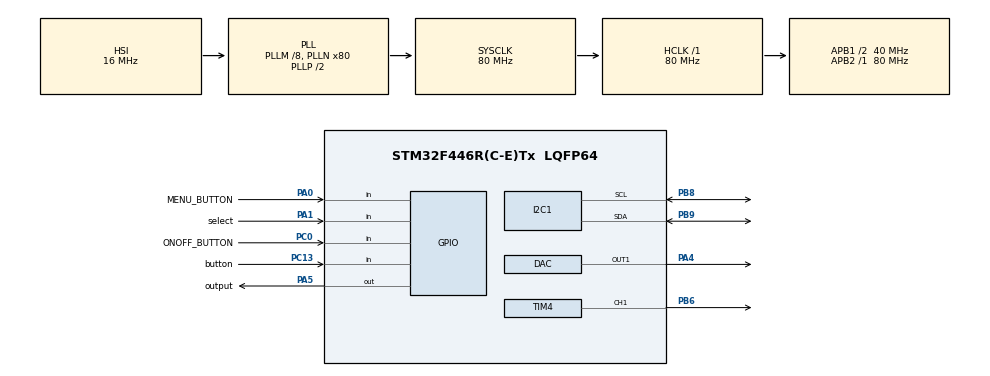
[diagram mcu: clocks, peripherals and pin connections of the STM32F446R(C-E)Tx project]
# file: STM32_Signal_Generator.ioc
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DAC.DAC_Trigger=DAC_TRIGGER_T2_TRGO
Dma.DAC1.0.Direction=DMA_MEMORY_TO_PERIPH
Dma.DAC1.0.FIFOMode=DMA_FIFOMODE_DISABLE
Dma.DAC1.0.Instance=DMA1_Stream5
Dma.DAC1.0.MemDataAlignment=DMA_MDATAALIGN_WORD
Dma.DAC1.0.MemInc=DMA_MINC_ENABLE
Dma.DAC1.0.Mode=DMA_CIRCULAR
Dma.DAC1.0.PeriphDataAlignment=DMA_PDATAALIGN_WORD
Dma.DAC1.0.PeriphInc=DMA_PINC_DISABLE
Dma.DAC1.0.Priority=DMA_PRIORITY_LOW
Dma.Request0=DAC1
IWDG.Prescaler=IWDG_PRESCALER_256
IWDG.Reload=1249
Mcu.Family=STM32F4
Mcu.Name=STM32F446R(C-E)Tx
Mcu.Package=LQFP64
NVIC.DMA1_Stream5_IRQn=true\:0\:0\:false\:false\:true\:false\:true\:true
NVIC.PriorityGroup=NVIC_PRIORITYGROUP_0
PA0-WKUP.GPIO_Label=MENU_BUTTON
PA0-WKUP.GPIO_PuPd=GPIO_PULLUP
PA0-WKUP.Signal=GPIO_Input
PA1.GPIO_Label=select
PA1.GPIO_PuPd=GPIO_PULLUP
PA1.Signal=GPIO_Input
PA13.Mode=Serial_Wire
PA13.Signal=SYS_JTMS-SWDIO
PA14.Mode=Serial_Wire
PA14.Signal=SYS_JTCK-SWCLK
PA4.Signal=COMP_DAC1_group
PA5.GPIO_Label=output
PA5.GPIO_Speed=GPIO_SPEED_FREQ_MEDIUM
PA5.Signal=GPIO_Output
PB6.Signal=S_TIM4_CH1
PB8.Mode=I2C
PB8.Signal=I2C1_SCL
PB9.Mode=I2C
PB9.Signal=I2C1_SDA
PC0.GPIO_Label=ONOFF_BUTTON
PC0.GPIO_PuPd=GPIO_PULLUP
PC0.Signal=GPIO_Input
PC13.GPIO_Label=button
PC13.Signal=GPIO_Input
PH0-OSC_IN.Mode=HSE-External-Oscillator
PH0-OSC_IN.Signal=RCC_OSC_IN
PH1-OSC_OUT.Mode=HSE-External-Oscillator
PH1-OSC_OUT.Signal=RCC_OSC_OUT
ProjectManager.HeapSize=0x200
ProjectManager.StackSize=0x400
ProjectManager.TargetToolchain=STM32CubeIDE
RCC.48MHZClocksFreq_Value=84000000
RCC.AHBFreq_Value=80000000
RCC.APB1CLKDivider=RCC_HCLK_DIV2
RCC.APB1Freq_Value=40000000
RCC.APB1TimFreq_Value=80000000
RCC.APB2Freq_Value=80000000
RCC.APB2TimFreq_Value=80000000
RCC.CortexFreq_Value=80000000
RCC.FLatency-AdvancedSettings=FLASH_LATENCY_2
RCC.HCLKFreq_Value=80000000
RCC.HSE_VALUE=8000000
RCC.HSI_VALUE=16000000
RCC.PLLM=8
RCC.PLLN=80
RCC.SYSCLKFreq_VALUE=80000000
RCC.SYSCLKSource=RCC_SYSCLKSOURCE_PLLCLK
RCC.USBFreq_Value=80000000
RCC.VCOOutputFreq_Value=160000000
SH.COMP_DAC1_group.0=DAC_OUT1,DAC_OUT1
SH.S_TIM4_CH1.0=TIM4_CH1,PWM Generation1 CH1
TIM2.Period=999
TIM2.Prescaler=79
TIM2.TIM_MasterOutputTrigger=TIM_TRGO_UPDATE
TIM4.Channel-PWM\ Generation1\ CH1=TIM_CHANNEL_1
TIM4.Period=1000-1
TIM4.Prescaler=80-1
VP_IWDG_VS_IWDG.Mode=IWDG_Activate
VP_TIM2_VS_ClockSourceINT.Mode=Internal
VP_TIM4_VS_ClockSourceINT.Mode=Internal
board=NUCLEO-F446RE

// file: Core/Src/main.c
/* USER CODE BEGIN Header */
/**
 ******************************************************************************
 * @file           : main.c
 * @brief          : Main program body
 ******************************************************************************
 * @attention
 *
 * Copyright (c) 2026 STMicroelectronics.
 * All rights reserved.
 *
 * This software is licensed under terms that can be found in the LICENSE file
 * in the root directory of this software component.
 * If no LICENSE file comes with this software, it is provided AS-IS.
 *
 ******************************************************************************
 */
/* USER CODE END Header */
#include "main.h"

/* USER CODE BEGIN Includes */
#include "pwm.h"
#include "ssd1306.h"
#include "menu.h"
#include "dac_waveform.h"
/* USER CODE END Includes */

DAC_HandleTypeDef hdac;
DMA_HandleTypeDef hdma_dac1;

I2C_HandleTypeDef hi2c1;

IWDG_HandleTypeDef hiwdg;

TIM_HandleTypeDef htim2;
TIM_HandleTypeDef htim4;

/* USER CODE BEGIN PV */
extern float frequency;
extern float dutyCycle;
/* USER CODE END PV */

void SystemClock_Config(void);
static void MX_GPIO_Init(void);
static void MX_DMA_Init(void);
static void MX_TIM4_Init(void);
static void MX_I2C1_Init(void);
static void MX_IWDG_Init(void);
static void MX_DAC_Init(void);
static void MX_TIM2_Init(void);

/* USER CODE BEGIN 0 */

/**
 * @brief Draws a straight line on the SSD1306 display.
 *
 * This function uses Bresenham's line algorithm to draw a line between
 * two points. Each point on the line is drawn using ssd1306_DrawPixel().
 *
 * @param x0 Starting point X coordinate.
 * @param y0 Starting point Y coordinate.
 * @param x1 Ending point X coordinate.
 * @param y1 Ending point Y coordinate.
 */
static void Splash_DrawLine(int x0, int y0, int x1, int y1) {
	int dx = (x1 > x0) ? (x1 - x0) : (x0 - x1);
	int sx = (x0 < x1) ? 1 : -1;
	int dy = -((y1 > y0) ? (y1 - y0) : (y0 - y1));
	int sy = (y0 < y1) ? 1 : -1;
	int err = dx + dy;
	int e2;

	while (1) {
		ssd1306_DrawPixel(x0, y0, White);

		if ((x0 == x1) && (y0 == y1)) {
			break;
		}

		e2 = 2 * err;

		if (e2 >= dy) {
			err += dy;
			x0 += sx;
		}

		if (e2 <= dx) {
			err += dx;
			y0 += sy;
		}
	}
}

/**
 * @brief Draws a rectangle outline on the SSD1306 display.
 *
 * This function draws four lines to create a rectangular frame.
 * The rectangle is not filled.
 *
 * @param x Top-left X coordinate of the rectangle.
 * @param y Top-left Y coordinate of the rectangle.
 * @param w Rectangle width in pixels.
 * @param h Rectangle height in pixels.
 */
static void Splash_DrawRect(uint8_t x, uint8_t y, uint8_t w, uint8_t h) {
	Splash_DrawLine(x, y, x + w, y);
	Splash_DrawLine(x, y + h, x + w, y + h);
	Splash_DrawLine(x, y, x, y + h);
	Splash_DrawLine(x + w, y, x + w, y + h);
}

/**
 * @brief Draws a filled circle on the SSD1306 display.
 *
 * This function checks each pixel inside the square area around the circle
 * and draws the pixels that satisfy the circle equation.
 *
 * @param cx Center X coordinate of the circle.
 * @param cy Center Y coordinate of the circle.
 * @param r Circle radius in pixels.
 */
static void Splash_DrawFilledCircle(uint8_t cx, uint8_t cy, uint8_t r) {
	for (int y = -r; y <= r; y++) {
		for (int x = -r; x <= r; x++) {
			if ((x * x) + (y * y) <= (r * r)) {
				ssd1306_DrawPixel(cx + x, cy + y, White);
			}
		}
	}
}

/**
 * @brief Draws the signal generator logo on the SSD1306 display.
 *
 * The logo consists of a simple device frame, a display area, screen grid,
 * waveform drawing, control buttons, and output connector lines.
 *
 * @note This function only draws pixels into the SSD1306 display buffer.
 *       ssd1306_UpdateScreen() must be called separately to show the result.
 */
static void Splash_DrawSignalGeneratorLogo(void) {
	/*
	 * Outer device frame
	 */
	Splash_DrawRect(18, 2, 92, 28);

	/*
	 * Display area
	 */
	Splash_DrawRect(23, 7, 55, 18);

	/*
	 * Screen grid
	 */
	Splash_DrawLine(23, 16, 78, 16);
	Splash_DrawLine(41, 7, 41, 25);
	Splash_DrawLine(59, 7, 59, 25);

	/*
	 * Waveform
	 */
	Splash_DrawLine(26, 16, 31, 10);
	Splash_DrawLine(31, 10, 36, 16);
	Splash_DrawLine(36, 16, 41, 22);
	Splash_DrawLine(41, 22, 46, 16);
	Splash_DrawLine(46, 16, 51, 10);
	Splash_DrawLine(51, 10, 56, 16);
	Splash_DrawLine(56, 16, 61, 22);
	Splash_DrawLine(61, 22, 66, 16);
	Splash_DrawLine(66, 16, 74, 16);

	/*
	 * Right-side control panel
	 */
	Splash_DrawFilledCircle(90, 11, 3);
	Splash_DrawFilledCircle(101, 11, 3);
	Splash_DrawFilledCircle(90, 22, 3);
	Splash_DrawFilledCircle(101, 22, 3);

	/*
	 * Small output connector
	 */
	Splash_DrawLine(82, 16, 87, 16);
	Splash_DrawLine(104, 16, 109, 16);
}

/**
 * @brief Initializes the signal generator output modules.
 *
 * This function stops PWM output, initializes the DAC waveform module,
 * and ensures that DAC waveform output is stopped at startup.
 *
 * The output signal is not started automatically. The user starts or stops
 * the selected waveform from the menu using the ON/OFF button.
 *
 * @note TIM4 Channel 1 is used for PWM square wave output.
 * @note DAC OUT1 is used for sine and triangle waveform output.
 */
void programInitialization(void) {
	pwmChannelStop(&htim4, TIM_CHANNEL_1);

	DAC_Waveform_Init();
	DAC_Waveform_Stop();
}

/**
 * @brief Displays the startup splash screen.
 *
 * This function initializes the SSD1306 OLED display, clears the screen,
 * draws the signal generator logo, writes the project title, keeps the
 * splash screen visible for a short time, and then clears the display.
 *
 * @note This function uses HAL_Delay(). If the watchdog timeout is shorter
 *       than the delay duration, the watchdog should be refreshed during
 *       the splash screen delay.
 */
void programStartMessage(void) {
	ssd1306_Init();
	ssd1306_Fill(Black);

	Splash_DrawSignalGeneratorLogo();

	ssd1306_SetCursor(22, 35);
	ssd1306_WriteString("SIGNAL", Font_11x18, White);

	ssd1306_SetCursor(26, 54);
	ssd1306_WriteString("GENERATOR", Font_7x10, White);

	ssd1306_UpdateScreen();

	HAL_Delay(5000);

	ssd1306_Fill(Black);
	ssd1306_UpdateScreen();
}

/* USER CODE END 0 */

int main(void) {

	/* MCU Configuration--------------------------------------------------------*/

	/* Reset of all peripherals, Initializes the Flash interface and the Systick. */
	HAL_Init();

	/* Configure the system clock */
	SystemClock_Config();

	/* Initialize all configured peripherals */
	MX_GPIO_Init();
	MX_DMA_Init();
	MX_TIM4_Init();
	MX_I2C1_Init();
	MX_IWDG_Init();
	MX_DAC_Init();
	MX_TIM2_Init();
	/* USER CODE BEGIN 2 */
	programInitialization();
	programStartMessage();

	/* USER CODE END 2 */

	/* Infinite loop */
	while (1) {

		/* USER CODE BEGIN 3 */
		handleMenuNavigation();
		HAL_IWDG_Refresh(&hiwdg);
	}
	/* USER CODE END 3 */
}

void SystemClock_Config(void) {
	RCC_OscInitTypeDef RCC_OscInitStruct = { 0 };
	RCC_ClkInitTypeDef RCC_ClkInitStruct = { 0 };

	/** Configure the main internal regulator output voltage
	 */
	__HAL_RCC_PWR_CLK_ENABLE();
	__HAL_PWR_VOLTAGESCALING_CONFIG(PWR_REGULATOR_VOLTAGE_SCALE3);

	/** Initializes the RCC Oscillators according to the specified parameters
	 * in the RCC_OscInitTypeDef structure.
	 */
	RCC_OscInitStruct.OscillatorType = RCC_OSCILLATORTYPE_HSI
			| RCC_OSCILLATORTYPE_LSI;
	RCC_OscInitStruct.HSIState = RCC_HSI_ON;
	RCC_OscInitStruct.HSICalibrationValue = RCC_HSICALIBRATION_DEFAULT;
	RCC_OscInitStruct.LSIState = RCC_LSI_ON;
	RCC_OscInitStruct.PLL.PLLState = RCC_PLL_ON;
	RCC_OscInitStruct.PLL.PLLSource = RCC_PLLSOURCE_HSI;
	RCC_OscInitStruct.PLL.PLLM = 8;
	RCC_OscInitStruct.PLL.PLLN = 80;
	RCC_OscInitStruct.PLL.PLLP = RCC_PLLP_DIV2;
	RCC_OscInitStruct.PLL.PLLQ = 2;
	RCC_OscInitStruct.PLL.PLLR = 2;
	if (HAL_RCC_OscConfig(&RCC_OscInitStruct) != HAL_OK) {
		Error_Handler();
	}

	/** Initializes the CPU, AHB and APB buses clocks
	 */
	RCC_ClkInitStruct.ClockType = RCC_CLOCKTYPE_HCLK | RCC_CLOCKTYPE_SYSCLK
			| RCC_CLOCKTYPE_PCLK1 | RCC_CLOCKTYPE_PCLK2;
	RCC_ClkInitStruct.SYSCLKSource = RCC_SYSCLKSOURCE_PLLCLK;
	RCC_ClkInitStruct.AHBCLKDivider = RCC_SYSCLK_DIV1;
	RCC_ClkInitStruct.APB1CLKDivider = RCC_HCLK_DIV2;
	RCC_ClkInitStruct.APB2CLKDivider = RCC_HCLK_DIV1;

	if (HAL_RCC_ClockConfig(&RCC_ClkInitStruct, FLASH_LATENCY_2) != HAL_OK) {
		Error_Handler();
	}
}

static void MX_DAC_Init(void) {

	DAC_ChannelConfTypeDef sConfig = { 0 };

	/** DAC Initialization
	 */
	hdac.Instance = DAC;
	if (HAL_DAC_Init(&hdac) != HAL_OK) {
		Error_Handler();
	}

	/** DAC channel OUT1 config
	 */
	sConfig.DAC_Trigger = DAC_TRIGGER_T2_TRGO;
	sConfig.DAC_OutputBuffer = DAC_OUTPUTBUFFER_ENABLE;
	if (HAL_DAC_ConfigChannel(&hdac, &sConfig, DAC_CHANNEL_1) != HAL_OK) {
		Error_Handler();
	}

}

static void MX_I2C1_Init(void) {

	hi2c1.Instance = I2C1;
	hi2c1.Init.ClockSpeed = 100000;
	hi2c1.Init.DutyCycle = I2C_DUTYCYCLE_2;
	hi2c1.Init.OwnAddress1 = 0;
	hi2c1.Init.AddressingMode = I2C_ADDRESSINGMODE_7BIT;
	hi2c1.Init.DualAddressMode = I2C_DUALADDRESS_DISABLE;
	hi2c1.Init.OwnAddress2 = 0;
	hi2c1.Init.GeneralCallMode = I2C_GENERALCALL_DISABLE;
	hi2c1.Init.NoStretchMode = I2C_NOSTRETCH_DISABLE;
	if (HAL_I2C_Init(&hi2c1) != HAL_OK) {
		Error_Handler();
	}

}

static void MX_IWDG_Init(void) {

	hiwdg.Instance = IWDG;
	hiwdg.Init.Prescaler = IWDG_PRESCALER_256;
	hiwdg.Init.Reload = 1249;
	if (HAL_IWDG_Init(&hiwdg) != HAL_OK) {
		Error_Handler();
	}

}

static void MX_TIM2_Init(void) {

	TIM_ClockConfigTypeDef sClockSourceConfig = { 0 };
	TIM_MasterConfigTypeDef sMasterConfig = { 0 };

	htim2.Instance = TIM2;
	htim2.Init.Prescaler = 79;
	htim2.Init.CounterMode = TIM_COUNTERMODE_UP;
	htim2.Init.Period = 999;
	htim2.Init.ClockDivision = TIM_CLOCKDIVISION_DIV1;
	htim2.Init.AutoReloadPreload = TIM_AUTORELOAD_PRELOAD_DISABLE;
	if (HAL_TIM_Base_Init(&htim2) != HAL_OK) {
		Error_Handler();
	}
	sClockSourceConfig.ClockSource = TIM_CLOCKSOURCE_INTERNAL;
	if (HAL_TIM_ConfigClockSource(&htim2, &sClockSourceConfig) != HAL_OK) {
		Error_Handler();
	}
	sMasterConfig.MasterOutputTrigger = TIM_TRGO_UPDATE;
	sMasterConfig.MasterSlaveMode = TIM_MASTERSLAVEMODE_DISABLE;
	if (HAL_TIMEx_MasterConfigSynchronization(&htim2, &sMasterConfig)
			!= HAL_OK) {
		Error_Handler();
	}

}

static void MX_TIM4_Init(void) {

	TIM_ClockConfigTypeDef sClockSourceConfig = { 0 };
	TIM_MasterConfigTypeDef sMasterConfig = { 0 };
	TIM_OC_InitTypeDef sConfigOC = { 0 };

	htim4.Instance = TIM4;
	htim4.Init.Prescaler = 80 - 1;
	htim4.Init.CounterMode = TIM_COUNTERMODE_UP;
	htim4.Init.Period = 1000 - 1;
	htim4.Init.ClockDivision = TIM_CLOCKDIVISION_DIV1;
	htim4.Init.AutoReloadPreload = TIM_AUTORELOAD_PRELOAD_DISABLE;
	if (HAL_TIM_Base_Init(&htim4) != HAL_OK) {
		Error_Handler();
	}
	sClockSourceConfig.ClockSource = TIM_CLOCKSOURCE_INTERNAL;
	if (HAL_TIM_ConfigClockSource(&htim4, &sClockSourceConfig) != HAL_OK) {
		Error_Handler();
	}
	if (HAL_TIM_PWM_Init(&htim4) != HAL_OK) {
		Error_Handler();
	}
	sMasterConfig.MasterOutputTrigger = TIM_TRGO_RESET;
	sMasterConfig.MasterSlaveMode = TIM_MASTERSLAVEMODE_DISABLE;
	if (HAL_TIMEx_MasterConfigSynchronization(&htim4, &sMasterConfig)
			!= HAL_OK) {
		Error_Handler();
	}
	sConfigOC.OCMode = TIM_OCMODE_PWM1;
	sConfigOC.Pulse = 0;
	sConfigOC.OCPolarity = TIM_OCPOLARITY_HIGH;
	sConfigOC.OCFastMode = TIM_OCFAST_DISABLE;
	if (HAL_TIM_PWM_ConfigChannel(&htim4, &sConfigOC, TIM_CHANNEL_1)
			!= HAL_OK) {
		Error_Handler();
	}
	HAL_TIM_MspPostInit(&htim4);

}

static void MX_DMA_Init(void) {

	/* DMA controller clock enable */
	__HAL_RCC_DMA1_CLK_ENABLE();

	/* DMA interrupt init */
	/* DMA1_Stream5_IRQn interrupt configuration */
	HAL_NVIC_SetPriority(DMA1_Stream5_IRQn, 0, 0);
	HAL_NVIC_EnableIRQ(DMA1_Stream5_IRQn);

}

static void MX_GPIO_Init(void) {
	GPIO_InitTypeDef GPIO_InitStruct = { 0 };

	/* GPIO Ports Clock Enable */
	__HAL_RCC_GPIOC_CLK_ENABLE();
	__HAL_RCC_GPIOH_CLK_ENABLE();
	__HAL_RCC_GPIOA_CLK_ENABLE();
	__HAL_RCC_GPIOB_CLK_ENABLE();

	/*Configure GPIO pin Output Level */
	HAL_GPIO_WritePin(output_GPIO_Port, output_Pin, GPIO_PIN_RESET);

	/*Configure GPIO pin : button_Pin */
	GPIO_InitStruct.Pin = button_Pin;
	GPIO_InitStruct.Mode = GPIO_MODE_INPUT;
	GPIO_InitStruct.Pull = GPIO_NOPULL;
	HAL_GPIO_Init(button_GPIO_Port, &GPIO_InitStruct);

	/*Configure GPIO pin : ONOFF_BUTTON_Pin */
	GPIO_InitStruct.Pin = ONOFF_BUTTON_Pin;
	GPIO_InitStruct.Mode = GPIO_MODE_INPUT;
	GPIO_InitStruct.Pull = GPIO_PULLUP;
	HAL_GPIO_Init(ONOFF_BUTTON_GPIO_Port, &GPIO_InitStruct);

	/*Configure GPIO pins : MENU_BUTTON_Pin select_Pin */
	GPIO_InitStruct.Pin = MENU_BUTTON_Pin | select_Pin;
	GPIO_InitStruct.Mode = GPIO_MODE_INPUT;
	GPIO_InitStruct.Pull = GPIO_PULLUP;
	HAL_GPIO_Init(GPIOA, &GPIO_InitStruct);

	/*Configure GPIO pin : output_Pin */
	GPIO_InitStruct.Pin = output_Pin;
	GPIO_InitStruct.Mode = GPIO_MODE_OUTPUT_PP;
	GPIO_InitStruct.Pull = GPIO_NOPULL;
	GPIO_InitStruct.Speed = GPIO_SPEED_FREQ_MEDIUM;
	HAL_GPIO_Init(output_GPIO_Port, &GPIO_InitStruct);

}

void Error_Handler(void) {
	__disable_irq();
	while (1) {
	}
}
